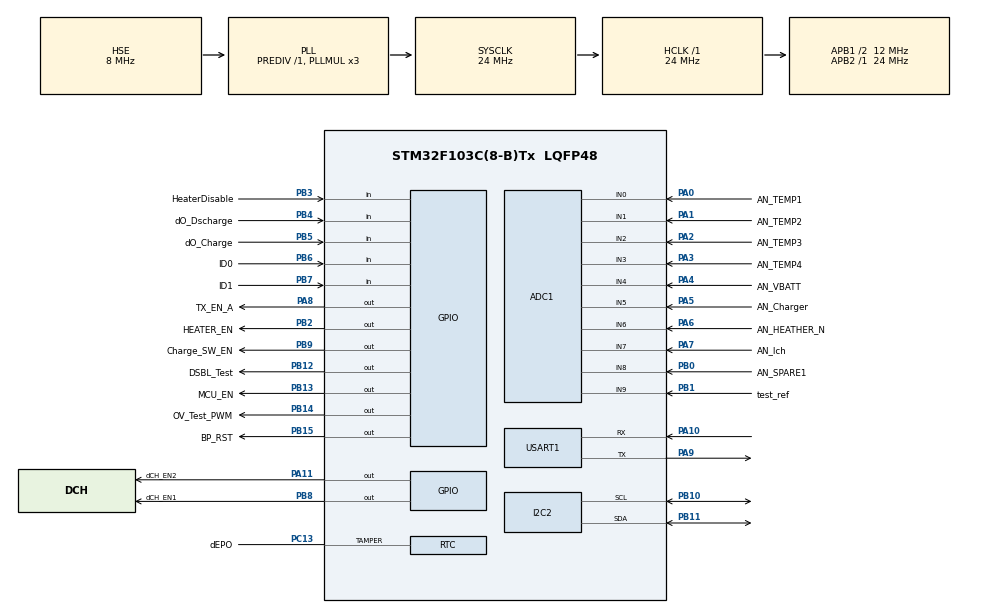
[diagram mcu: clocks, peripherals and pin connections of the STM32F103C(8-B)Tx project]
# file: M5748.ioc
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ADC1.Channel-0\#ChannelRegularConversion=ADC_CHANNEL_0
ADC1.NbrOfConversionFlag=1
ADC1.Rank-0\#ChannelRegularConversion=1
ADC1.SamplingTime-0\#ChannelRegularConversion=ADC_SAMPLETIME_1CYCLE_5
ADC1.master=1
Dma.Request0=USART1_RX
Dma.Request1=USART1_TX
Dma.USART1_RX.0.Direction=DMA_PERIPH_TO_MEMORY
Dma.USART1_RX.0.Instance=DMA1_Channel5
Dma.USART1_RX.0.MemDataAlignment=DMA_MDATAALIGN_BYTE
Dma.USART1_RX.0.MemInc=DMA_MINC_ENABLE
Dma.USART1_RX.0.Mode=DMA_CIRCULAR
Dma.USART1_RX.0.PeriphDataAlignment=DMA_PDATAALIGN_BYTE
Dma.USART1_RX.0.PeriphInc=DMA_PINC_DISABLE
Dma.USART1_RX.0.Priority=DMA_PRIORITY_LOW
Dma.USART1_TX.1.Direction=DMA_MEMORY_TO_PERIPH
Dma.USART1_TX.1.Instance=DMA1_Channel4
Dma.USART1_TX.1.MemDataAlignment=DMA_MDATAALIGN_BYTE
Dma.USART1_TX.1.MemInc=DMA_MINC_ENABLE
Dma.USART1_TX.1.Mode=DMA_NORMAL
Dma.USART1_TX.1.PeriphDataAlignment=DMA_PDATAALIGN_BYTE
Dma.USART1_TX.1.PeriphInc=DMA_PINC_DISABLE
Dma.USART1_TX.1.Priority=DMA_PRIORITY_LOW
I2C2.I2C_Mode=I2C_Fast
Mcu.Family=STM32F1
Mcu.Name=STM32F103C(8-B)Tx
Mcu.Package=LQFP48
NVIC.DMA1_Channel4_IRQn=true\:0\:0\:false\:false\:true\:false\:true\:true
NVIC.DMA1_Channel5_IRQn=true\:0\:0\:false\:false\:true\:false\:true\:true
NVIC.PriorityGroup=NVIC_PRIORITYGROUP_4
NVIC.USART1_IRQn=true\:0\:0\:false\:false\:true\:false\:true\:true
PA0-WKUP.GPIO_Label=AN_TEMP1
PA0-WKUP.Signal=ADCx_IN0
PA1.GPIO_Label=AN_TEMP2
PA1.Signal=ADCx_IN1
PA10.Mode=Asynchronous
PA10.Signal=USART1_RX
PA11.GPIO_Label=dCH_EN2
PA11.GPIO_PuPd=GPIO_PULLUP
PA11.Signal=GPIO_Output
PA13.Mode=Serial_Wire
PA13.Signal=SYS_JTMS-SWDIO
PA14.Mode=Serial_Wire
PA14.Signal=SYS_JTCK-SWCLK
PA2.GPIO_Label=AN_TEMP3
PA2.Signal=ADCx_IN2
PA3.GPIO_Label=AN_TEMP4
PA3.Signal=ADCx_IN3
PA4.GPIO_Label=AN_VBATT
PA4.Signal=ADCx_IN4
PA5.GPIO_Label=AN_Charger
PA5.Signal=ADCx_IN5
PA6.GPIO_Label=AN_HEATHER_N
PA6.Signal=ADCx_IN6
PA7.GPIO_Label=AN_Ich
PA7.Signal=ADCx_IN7
PA8.GPIO_Label=TX_EN_A
PA8.Signal=GPIO_Output
PA9.Mode=Asynchronous
PA9.Signal=USART1_TX
PB0.GPIO_Label=AN_SPARE1
PB0.Signal=ADCx_IN8
PB1.GPIO_Label=test_ref
PB1.Signal=ADCx_IN9
PB10.Mode=I2C
PB10.Signal=I2C2_SCL
PB11.Mode=I2C
PB11.Signal=I2C2_SDA
PB12.GPIO_Label=DSBL_Test
PB12.Signal=GPIO_Output
PB13.GPIO_Label=MCU_EN
PB13.Signal=GPIO_Output
PB14.GPIO_Label=OV_Test_PWM
PB14.Signal=GPIO_Output
PB15.GPIO_Label=BP_RST
PB15.GPIO_ModeDefaultOutputPP=GPIO_MODE_OUTPUT_OD
PB15.GPIO_PuPd=GPIO_NOPULL
PB15.Signal=GPIO_Output
PB2.GPIO_Label=HEATER_EN
PB2.Signal=GPIO_Output
PB3.GPIO_Label=HeaterDisable
PB3.GPIO_PuPd=GPIO_PULLUP
PB3.Signal=GPIO_Input
PB4.GPIO_Label=dO_Dscharge
PB4.GPIO_PuPd=GPIO_PULLUP
PB4.Signal=GPIO_Input
PB5.GPIO_Label=dO_Charge
PB5.GPIO_PuPd=GPIO_PULLUP
PB5.Signal=GPIO_Input
PB6.GPIO_Label=ID0
PB6.GPIO_PuPd=GPIO_NOPULL
PB6.Signal=GPIO_Input
PB7.GPIO_Label=ID1
PB7.GPIO_PuPd=GPIO_NOPULL
PB7.Signal=GPIO_Input
PB8.GPIO_Label=dCH_EN1
PB8.Signal=GPIO_Output
PB9.GPIO_Label=Charge_SW_EN
PB9.Signal=GPIO_Output
PC13-TAMPER-RTC.GPIO_Label=dEPO
PC13-TAMPER-RTC.Mode=Tamper
PC13-TAMPER-RTC.Signal=RTC_TAMPER
PC14-OSC32_IN.GPIO_Label=dBattleMode
PC14-OSC32_IN.Mode=LSE-External-Clock-Source
PC14-OSC32_IN.Signal=RCC_OSC32_IN
PC15-OSC32_OUT.GPIO_Label=DSBL_FB
PC15-OSC32_OUT.Mode=LSE-External-Clock-Source
PC15-OSC32_OUT.Signal=RCC_OSC32_OUT
PD0-OSC_IN.Mode=HSE-External-Clock-Source
PD0-OSC_IN.Signal=RCC_OSC_IN
PD1-OSC_OUT.Mode=HSE-External-Clock-Source
PD1-OSC_OUT.Signal=RCC_OSC_OUT
ProjectManager.HeapSize=0x200
ProjectManager.StackSize=0x400
ProjectManager.TargetToolchain=EWARM V8.32
RCC.ADCPresc=RCC_ADCPCLK2_DIV6
RCC.AHBFreq_Value=24000000
RCC.APB1CLKDivider=RCC_HCLK_DIV2
RCC.APB1Freq_Value=12000000
RCC.APB1TimFreq_Value=24000000
RCC.APB2Freq_Value=24000000
RCC.APB2TimFreq_Value=24000000
RCC.HCLKFreq_Value=24000000
RCC.PLLMUL=RCC_PLL_MUL3
RCC.PLLSourceVirtual=RCC_PLLSOURCE_HSE
RCC.SYSCLKFreq_VALUE=24000000
RCC.SYSCLKSource=RCC_SYSCLKSOURCE_PLLCLK
RCC.USBFreq_Value=24000000
SH.ADCx_IN0.0=ADC1_IN0,IN0
SH.ADCx_IN1.0=ADC1_IN1,IN1
SH.ADCx_IN2.0=ADC1_IN2,IN2
SH.ADCx_IN3.0=ADC1_IN3,IN3
SH.ADCx_IN4.0=ADC1_IN4,IN4
SH.ADCx_IN5.0=ADC1_IN5,IN5
SH.ADCx_IN6.0=ADC1_IN6,IN6
SH.ADCx_IN7.0=ADC1_IN7,IN7
SH.ADCx_IN8.0=ADC1_IN8,IN8
SH.ADCx_IN9.0=ADC1_IN9,IN9
TIM4.Period=4974
TIM4.Prescaler=24
USART1.VirtualMode=VM_ASYNC
VP_RTC_No_RTC_Output.Mode=RTC_OUT_NO
VP_RTC_VS_RTC_Activate.Mode=RTC_Enabled
VP_TIM4_VS_ClockSourceINT.Mode=Internal
board=custom

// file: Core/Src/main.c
/* USER CODE BEGIN Header */
/**
  ******************************************************************************
  * @file           : main.c
  * @brief          : Main program body
  ******************************************************************************
  * @attention
  *
  * Copyright (c) 2025 STMicroelectronics.
  * All rights reserved.
  *
  * This software is licensed under terms that can be found in the LICENSE file
  * in the root directory of this software component.
  * If no LICENSE file comes with this software, it is provided AS-IS.
  *
  ******************************************************************************
  */
/* USER CODE END Header */
#include "main.h"

/* USER CODE BEGIN Includes */
#include "general.h"
#include "RowIO.h"
#include "IO.h"
#include "IntUart.h"
#include "Mgmt.h"
#include "IntUartDataLink.h"
#include "IntComm.h"
#include "flash_if.h"
/* USER CODE END Includes */

ADC_HandleTypeDef hadc1;

I2C_HandleTypeDef hi2c2;

RTC_HandleTypeDef hrtc;

TIM_HandleTypeDef htim4;

UART_HandleTypeDef huart1;
DMA_HandleTypeDef hdma_usart1_rx;
DMA_HandleTypeDef hdma_usart1_tx;

void SystemClock_Config(void);
static void MX_GPIO_Init(void);
static void MX_DMA_Init(void);
static void MX_ADC1_Init(void);
static void MX_I2C2_Init(void);
static void MX_USART1_UART_Init(void);
static void MX_TIM4_Init(void);
static void MX_RTC_Init(void);

int main(void)
{

  /* MCU Configuration--------------------------------------------------------*/

  /* Reset of all peripherals, Initializes the Flash interface and the Systick. */
  HAL_Init();

  /* Configure the system clock */
  SystemClock_Config();

  /* Initialize all configured peripherals */
  MX_GPIO_Init();
  MX_DMA_Init();
  MX_ADC1_Init();
  MX_I2C2_Init();
  MX_USART1_UART_Init();
  MX_TIM4_Init();
  MX_RTC_Init();
  /* USER CODE BEGIN 2 */
  HAL_TIM_Base_Start(&htim4);
  uart_Enable(0);
  initOutputs();
  mgmtInit();
  HAL_Delay(100); // for MCU_EN DBG
  uint8_t data = 5;
  uint8_t rx = 0;
//HAL_I2C_Mem_Write(&hi2c2,(uint16_t) (0xa0 << 1) ,0, I2C_MEMADD_SIZE_8BIT,&data,(uint16_t) 1, HAL_MAX_DELAY);
 //HAL_I2C_Mem_Read(&hi2c2, (uint16_t) (0xa0 << 1),0 , I2C_MEMADD_SIZE_8BIT,&rx, 1,HAL_MAX_DELAY);

  /* USER CODE END 2 */

  /* Infinite loop */
  /* USER CODE BEGIN WHILE */
  while (1)
  {
    if (__HAL_TIM_GET_FLAG(&htim4, TIM_FLAG_UPDATE))
    {
      __HAL_TIM_CLEAR_FLAG(&htim4, TIM_FLAG_UPDATE);
      //TP_LED1(b100mS_gate);
      updateTimingVar();
      readDigitalInputs();
      readAnalogInputs();
      debounceDigitalInputs();
      filterAnalogInputs();

      intUart_Handle();
      Command_Handler(); //check if a new telemetry received and decode it
      managment();
      //outputsUpate();

      writeDigitalOutputs();
    }
    intUart_Handle();
    /* USER CODE END WHILE */

  }
}

void SystemClock_Config(void)
{
  RCC_OscInitTypeDef RCC_OscInitStruct = {0};
  RCC_ClkInitTypeDef RCC_ClkInitStruct = {0};
  RCC_PeriphCLKInitTypeDef PeriphClkInit = {0};

  /** Initializes the RCC Oscillators according to the specified parameters
  * in the RCC_OscInitTypeDef structure.
  */
  RCC_OscInitStruct.OscillatorType = RCC_OSCILLATORTYPE_LSI|RCC_OSCILLATORTYPE_HSE;
  RCC_OscInitStruct.HSEState = RCC_HSE_BYPASS;
  RCC_OscInitStruct.HSEPredivValue = RCC_HSE_PREDIV_DIV1;
  RCC_OscInitStruct.HSIState = RCC_HSI_ON;
  RCC_OscInitStruct.LSIState = RCC_LSI_ON;
  RCC_OscInitStruct.PLL.PLLState = RCC_PLL_ON;
  RCC_OscInitStruct.PLL.PLLSource = RCC_PLLSOURCE_HSE;
  RCC_OscInitStruct.PLL.PLLMUL = RCC_PLL_MUL3;
  if (HAL_RCC_OscConfig(&RCC_OscInitStruct) != HAL_OK)
  {
    Error_Handler();
  }

  /** Initializes the CPU, AHB and APB buses clocks
  */
  RCC_ClkInitStruct.ClockType = RCC_CLOCKTYPE_HCLK|RCC_CLOCKTYPE_SYSCLK
                              |RCC_CLOCKTYPE_PCLK1|RCC_CLOCKTYPE_PCLK2;
  RCC_ClkInitStruct.SYSCLKSource = RCC_SYSCLKSOURCE_PLLCLK;
  RCC_ClkInitStruct.AHBCLKDivider = RCC_SYSCLK_DIV1;
  RCC_ClkInitStruct.APB1CLKDivider = RCC_HCLK_DIV2;
  RCC_ClkInitStruct.APB2CLKDivider = RCC_HCLK_DIV1;

  if (HAL_RCC_ClockConfig(&RCC_ClkInitStruct, FLASH_LATENCY_0) != HAL_OK)
  {
    Error_Handler();
  }
  PeriphClkInit.PeriphClockSelection = RCC_PERIPHCLK_RTC|RCC_PERIPHCLK_ADC;
  PeriphClkInit.RTCClockSelection = RCC_RTCCLKSOURCE_LSI;
  PeriphClkInit.AdcClockSelection = RCC_ADCPCLK2_DIV6;
  if (HAL_RCCEx_PeriphCLKConfig(&PeriphClkInit) != HAL_OK)
  {
    Error_Handler();
  }
}

static void MX_ADC1_Init(void)
{

  ADC_ChannelConfTypeDef sConfig = {0};

  /** Common config
  */
  hadc1.Instance = ADC1;
  hadc1.Init.ScanConvMode = ADC_SCAN_DISABLE;
  hadc1.Init.ContinuousConvMode = DISABLE;
  hadc1.Init.DiscontinuousConvMode = DISABLE;
  hadc1.Init.ExternalTrigConv = ADC_SOFTWARE_START;
  hadc1.Init.DataAlign = ADC_DATAALIGN_RIGHT;
  hadc1.Init.NbrOfConversion = 1;
  if (HAL_ADC_Init(&hadc1) != HAL_OK)
  {
    Error_Handler();
  }

  /** Configure Regular Channel
  */
  sConfig.Channel = ADC_CHANNEL_0;
  sConfig.Rank = ADC_REGULAR_RANK_1;
  sConfig.SamplingTime = ADC_SAMPLETIME_1CYCLE_5;
  if (HAL_ADC_ConfigChannel(&hadc1, &sConfig) != HAL_OK)
  {
    Error_Handler();
  }

}

static void MX_I2C2_Init(void)
{

  hi2c2.Instance = I2C2;
  hi2c2.Init.ClockSpeed = 400000;
  hi2c2.Init.DutyCycle = I2C_DUTYCYCLE_2;
  hi2c2.Init.OwnAddress1 = 0;
  hi2c2.Init.AddressingMode = I2C_ADDRESSINGMODE_7BIT;
  hi2c2.Init.DualAddressMode = I2C_DUALADDRESS_DISABLE;
  hi2c2.Init.OwnAddress2 = 0;
  hi2c2.Init.GeneralCallMode = I2C_GENERALCALL_DISABLE;
  hi2c2.Init.NoStretchMode = I2C_NOSTRETCH_DISABLE;
  if (HAL_I2C_Init(&hi2c2) != HAL_OK)
  {
    Error_Handler();
  }

}

static void MX_RTC_Init(void)
{

  RTC_TimeTypeDef sTime = {0};
  RTC_DateTypeDef DateToUpdate = {0};
  RTC_TamperTypeDef sTamper = {0};

  /** Initialize RTC Only
  */
  hrtc.Instance = RTC;
  hrtc.Init.AsynchPrediv = RTC_AUTO_1_SECOND;
  hrtc.Init.OutPut = RTC_OUTPUTSOURCE_NONE;
  if (HAL_RTC_Init(&hrtc) != HAL_OK)
  {
    Error_Handler();
  }

  /** Initialize RTC and set the Time and Date
  */
  sTime.Hours = 0x0;
  sTime.Minutes = 0x0;
  sTime.Seconds = 0x0;

  if (HAL_RTC_SetTime(&hrtc, &sTime, RTC_FORMAT_BCD) != HAL_OK)
  {
    Error_Handler();
  }
  DateToUpdate.WeekDay = RTC_WEEKDAY_MONDAY;
  DateToUpdate.Month = RTC_MONTH_JANUARY;
  DateToUpdate.Date = 0x1;
  DateToUpdate.Year = 0x0;

  if (HAL_RTC_SetDate(&hrtc, &DateToUpdate, RTC_FORMAT_BCD) != HAL_OK)
  {
    Error_Handler();
  }

  /** Enable the RTC Tamper
  */
  sTamper.Tamper = RTC_TAMPER_1;
  sTamper.Trigger = RTC_TAMPERTRIGGER_LOWLEVEL;
  if (HAL_RTCEx_SetTamper(&hrtc, &sTamper) != HAL_OK)
  {
    Error_Handler();
  }

}

static void MX_TIM4_Init(void)
{

  TIM_ClockConfigTypeDef sClockSourceConfig = {0};
  TIM_MasterConfigTypeDef sMasterConfig = {0};

  htim4.Instance = TIM4;
  htim4.Init.Prescaler = 24;
  htim4.Init.CounterMode = TIM_COUNTERMODE_UP;
  htim4.Init.Period = 4974;
  htim4.Init.ClockDivision = TIM_CLOCKDIVISION_DIV1;
  htim4.Init.AutoReloadPreload = TIM_AUTORELOAD_PRELOAD_DISABLE;
  if (HAL_TIM_Base_Init(&htim4) != HAL_OK)
  {
    Error_Handler();
  }
  sClockSourceConfig.ClockSource = TIM_CLOCKSOURCE_INTERNAL;
  if (HAL_TIM_ConfigClockSource(&htim4, &sClockSourceConfig) != HAL_OK)
  {
    Error_Handler();
  }
  sMasterConfig.MasterOutputTrigger = TIM_TRGO_RESET;
  sMasterConfig.MasterSlaveMode = TIM_MASTERSLAVEMODE_DISABLE;
  if (HAL_TIMEx_MasterConfigSynchronization(&htim4, &sMasterConfig) != HAL_OK)
  {
    Error_Handler();
  }

}

static void MX_USART1_UART_Init(void)
{

  huart1.Instance = USART1;
  huart1.Init.BaudRate = 115200;
  huart1.Init.WordLength = UART_WORDLENGTH_8B;
  huart1.Init.StopBits = UART_STOPBITS_1;
  huart1.Init.Parity = UART_PARITY_NONE;
  huart1.Init.Mode = UART_MODE_TX_RX;
  huart1.Init.HwFlowCtl = UART_HWCONTROL_NONE;
  huart1.Init.OverSampling = UART_OVERSAMPLING_16;
  if (HAL_UART_Init(&huart1) != HAL_OK)
  {
    Error_Handler();
  }

}

static void MX_DMA_Init(void)
{

  /* DMA controller clock enable */
  __HAL_RCC_DMA1_CLK_ENABLE();

  /* DMA interrupt init */
  /* DMA1_Channel4_IRQn interrupt configuration */
  HAL_NVIC_SetPriority(DMA1_Channel4_IRQn, 0, 0);
  HAL_NVIC_EnableIRQ(DMA1_Channel4_IRQn);
  /* DMA1_Channel5_IRQn interrupt configuration */
  HAL_NVIC_SetPriority(DMA1_Channel5_IRQn, 0, 0);
  HAL_NVIC_EnableIRQ(DMA1_Channel5_IRQn);

}

static void MX_GPIO_Init(void)
{
  GPIO_InitTypeDef GPIO_InitStruct = {0};

  /* GPIO Ports Clock Enable */
  __HAL_RCC_GPIOC_CLK_ENABLE();
  __HAL_RCC_GPIOD_CLK_ENABLE();
  __HAL_RCC_GPIOA_CLK_ENABLE();
  __HAL_RCC_GPIOB_CLK_ENABLE();

  /*Configure GPIO pin Output Level */
  HAL_GPIO_WritePin(GPIOB, HEATER_EN_Pin|DSBL_Test_Pin|MCU_EN_Pin|OV_Test_PWM_Pin
                          |BP_RST_Pin|dCH_EN1_Pin|Charge_SW_EN_Pin, GPIO_PIN_RESET);

  /*Configure GPIO pin Output Level */
  HAL_GPIO_WritePin(GPIOA, TX_EN_A_Pin|dCH_EN2_Pin, GPIO_PIN_RESET);

  /*Configure GPIO pins : HEATER_EN_Pin DSBL_Test_Pin MCU_EN_Pin OV_Test_PWM_Pin
                           dCH_EN1_Pin Charge_SW_EN_Pin */
  GPIO_InitStruct.Pin = HEATER_EN_Pin|DSBL_Test_Pin|MCU_EN_Pin|OV_Test_PWM_Pin
                          |dCH_EN1_Pin|Charge_SW_EN_Pin;
  GPIO_InitStruct.Mode = GPIO_MODE_OUTPUT_PP;
  GPIO_InitStruct.Pull = GPIO_NOPULL;
  GPIO_InitStruct.Speed = GPIO_SPEED_FREQ_LOW;
  HAL_GPIO_Init(GPIOB, &GPIO_InitStruct);

  /*Configure GPIO pin : BP_RST_Pin */
  GPIO_InitStruct.Pin = BP_RST_Pin;
  GPIO_InitStruct.Mode = GPIO_MODE_OUTPUT_OD;
  GPIO_InitStruct.Pull = GPIO_NOPULL;
  GPIO_InitStruct.Speed = GPIO_SPEED_FREQ_LOW;
  HAL_GPIO_Init(BP_RST_GPIO_Port, &GPIO_InitStruct);

  /*Configure GPIO pin : TX_EN_A_Pin */
  GPIO_InitStruct.Pin = TX_EN_A_Pin;
  GPIO_InitStruct.Mode = GPIO_MODE_OUTPUT_PP;
  GPIO_InitStruct.Pull = GPIO_NOPULL;
  GPIO_InitStruct.Speed = GPIO_SPEED_FREQ_LOW;
  HAL_GPIO_Init(TX_EN_A_GPIO_Port, &GPIO_InitStruct);

  /*Configure GPIO pin : dCH_EN2_Pin */
  GPIO_InitStruct.Pin = dCH_EN2_Pin;
  GPIO_InitStruct.Mode = GPIO_MODE_OUTPUT_PP;
  GPIO_InitStruct.Pull = GPIO_PULLUP;
  GPIO_InitStruct.Speed = GPIO_SPEED_FREQ_LOW;
  HAL_GPIO_Init(dCH_EN2_GPIO_Port, &GPIO_InitStruct);

  /*Configure GPIO pins : HeaterDisable_Pin dO_Dscharge_Pin dO_Charge_Pin */
  GPIO_InitStruct.Pin = HeaterDisable_Pin|dO_Dscharge_Pin|dO_Charge_Pin;
  GPIO_InitStruct.Mode = GPIO_MODE_INPUT;
  GPIO_InitStruct.Pull = GPIO_PULLUP;
  HAL_GPIO_Init(GPIOB, &GPIO_InitStruct);

  /*Configure GPIO pins : ID0_Pin ID1_Pin */
  GPIO_InitStruct.Pin = ID0_Pin|ID1_Pin;
  GPIO_InitStruct.Mode = GPIO_MODE_INPUT;
  GPIO_InitStruct.Pull = GPIO_NOPULL;
  HAL_GPIO_Init(GPIOB, &GPIO_InitStruct);

}

void Error_Handler(void)
{
  __disable_irq();
  while (1)
  {
  }
}
